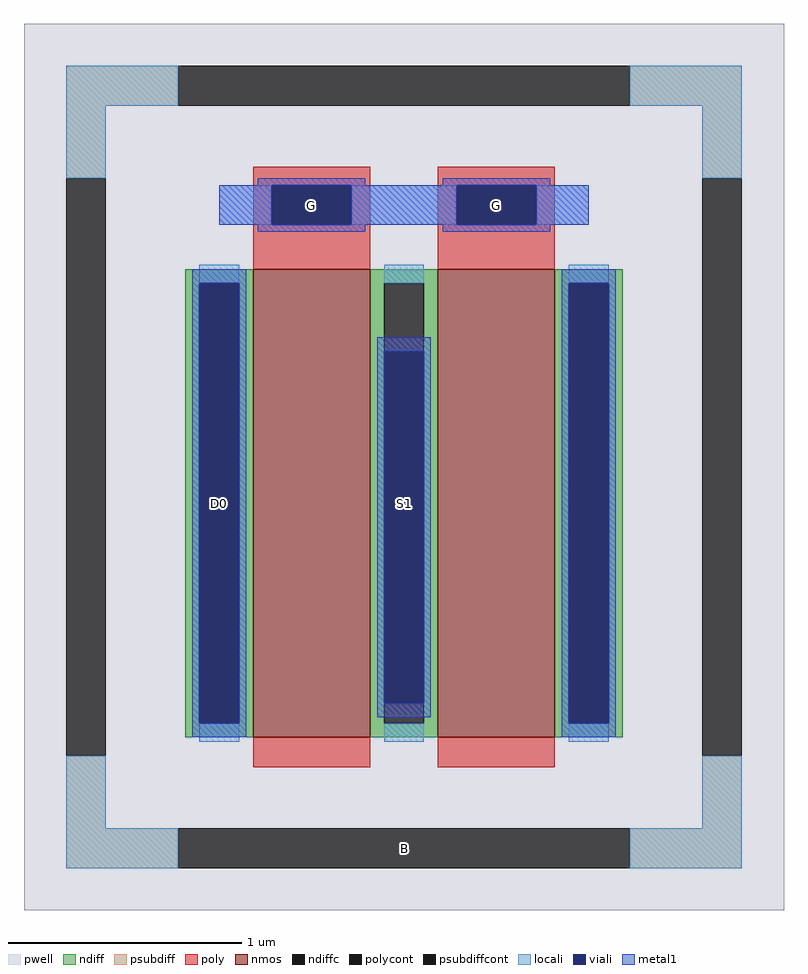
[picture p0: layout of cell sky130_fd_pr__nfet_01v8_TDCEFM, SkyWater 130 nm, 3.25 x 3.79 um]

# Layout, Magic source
magic
tech sky130A
magscale 1 2
<< pwell >>
rect -325 -379 325 379
<< nmos >>
rect -129 -231 -29 169
rect 29 -231 129 169
<< ndiff >>
rect -187 157 -129 169
rect -187 -219 -175 157
rect -141 -219 -129 157
rect -187 -231 -129 -219
rect -29 157 29 169
rect -29 -219 -17 157
rect 17 -219 29 157
rect -29 -231 29 -219
rect 129 157 187 169
rect 129 -219 141 157
rect 175 -219 187 157
rect 129 -231 187 -219
<< ndiffc >>
rect -175 -219 -141 157
rect -17 -219 17 157
rect 141 -219 175 157
<< psubdiff >>
rect -289 309 -193 343
rect 193 309 289 343
rect -289 247 -255 309
rect 255 247 289 309
rect -289 -309 -255 -247
rect 255 -309 289 -247
rect -289 -343 -193 -309
rect 193 -343 289 -309
<< psubdiffcont >>
rect -193 309 193 343
rect -289 -247 -255 247
rect 255 -247 289 247
rect -193 -343 193 -309
<< poly >>
rect -129 241 -29 257
rect -129 207 -113 241
rect -45 207 -29 241
rect -129 169 -29 207
rect 29 241 129 257
rect 29 207 45 241
rect 113 207 129 241
rect 29 169 129 207
rect -129 -257 -29 -231
rect 29 -257 129 -231
<< polycont >>
rect -113 207 -45 241
rect 45 207 113 241
<< locali >>
rect -289 309 -193 343
rect 193 309 289 343
rect -289 247 -255 309
rect 255 247 289 309
rect -158 207 -113 241
rect -45 207 45 241
rect 113 207 158 241
rect -175 157 -141 173
rect -175 -235 -141 -219
rect -17 157 17 173
rect -17 -235 17 -219
rect 141 157 175 173
rect 141 -235 175 -219
rect -289 -309 -255 -247
rect 255 -309 289 -247
rect -289 -343 -193 -309
rect 193 -343 289 -309
<< viali >>
rect -113 207 -45 241
rect 45 207 113 241
rect -175 -219 -141 157
rect -17 -202 17 99
rect 141 -219 175 157
<< metal1 >>
rect -125 241 -33 247
rect 33 241 125 247
rect -158 207 -113 241
rect -45 207 45 241
rect 113 207 158 241
rect -125 201 -33 207
rect 33 201 125 207
rect -181 157 -135 169
rect -181 -219 -175 157
rect -141 -219 -135 157
rect 135 157 181 169
rect -23 99 23 111
rect -23 -202 -17 99
rect 17 -202 23 99
rect -23 -214 23 -202
rect -181 -231 -135 -219
rect 135 -219 141 157
rect 175 -219 181 157
rect 135 -231 181 -219
<< labels >>
rlabel psubdiffcont 0 -326 0 -326 0 B
port 1 nsew
rlabel ndiffc -158 -31 -158 -31 0 D0
port 2 nsew
rlabel polycont -79 224 -79 224 0 G
port 3 nsew
rlabel ndiffc 0 -31 0 -31 0 S1
port 4 nsew
rlabel polycont 79 224 79 224 0 G
port 3 nsew
<< properties >>
string FIXED_BBOX -272 -326 272 326
string gencell sky130_fd_pr__nfet_01v8
string library sky130
string parameters w 2.0 l 0.5 m 1 nf 2 diffcov 100 polycov 100 guard 1 glc 1 grc 1 gtc 1 gbc 1 tbcov 100 rlcov 100 topc 1 botc 0 poverlap 0 doverlap 1 lmin 0.15 wmin 0.42 class mosfet compatible {sky130_fd_pr__nfet_01v8 sky130_fd_pr__nfet_01v8_lvt  sky130_fd_bs_flash__special_sonosfet_star  sky130_fd_pr__nfet_g5v0d10v5 sky130_fd_pr__nfet_05v0_nvt  sky130_fd_pr__nfet_03v3_nvt} full_metal 1 conn_gates 1 viasrc +80 viadrn 100 viagate 100 viagb 0 viagr 0 viagl 0 viagt 0 doports 1
<< end >>
